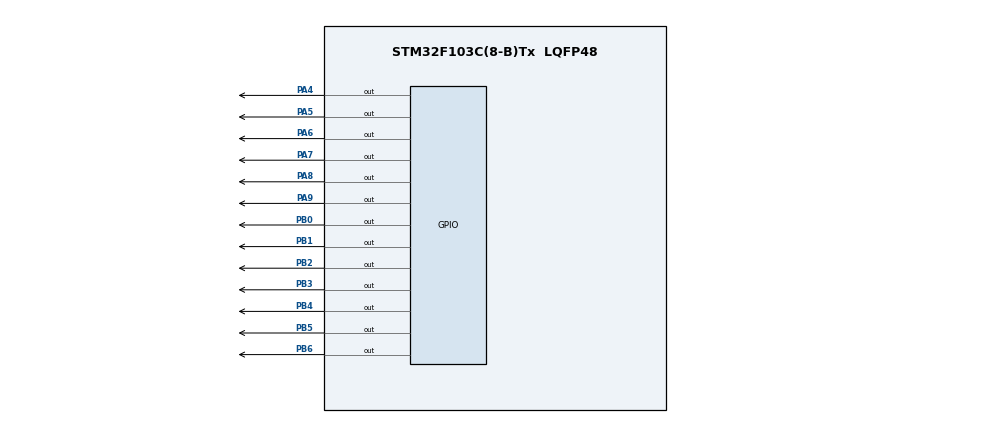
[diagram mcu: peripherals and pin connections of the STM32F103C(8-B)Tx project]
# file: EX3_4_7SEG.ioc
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Mcu.Family=STM32F1
Mcu.Name=STM32F103C(8-B)Tx
Mcu.Package=LQFP48
NVIC.PriorityGroup=NVIC_PRIORITYGROUP_4
NVIC.TIM2_IRQn=true\:0\:0\:false\:false\:true\:true\:true\:true
PA13.Mode=Serial_Wire
PA13.Signal=SYS_JTMS-SWDIO
PA14.Mode=Serial_Wire
PA14.Signal=SYS_JTCK-SWCLK
PA4.Signal=GPIO_Output
PA5.Signal=GPIO_Output
PA6.Signal=GPIO_Output
PA7.Signal=GPIO_Output
PA8.Signal=GPIO_Output
PA9.Signal=GPIO_Output
PB0.Signal=GPIO_Output
PB1.Signal=GPIO_Output
PB2.Signal=GPIO_Output
PB3.Signal=GPIO_Output
PB4.Signal=GPIO_Output
PB5.Signal=GPIO_Output
PB6.Signal=GPIO_Output
ProjectManager.HeapSize=0x200
ProjectManager.StackSize=0x400
ProjectManager.TargetToolchain=MDK-ARM V5.32
RCC.APB1Freq_Value=8000000
RCC.APB2Freq_Value=8000000
TIM2.Period=9
TIM2.Prescaler=7999
VP_TIM2_VS_ClockSourceINT.Mode=Internal
board=custom

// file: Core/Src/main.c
/* USER CODE BEGIN Header */
/**
  ******************************************************************************
  * @file           : main.c
  * @brief          : Main program body
  ******************************************************************************
  * @attention
  *
  * Copyright (c) 2026 STMicroelectronics.
  * All rights reserved.
  *
  * This software is licensed under terms that can be found in the LICENSE file
  * in the root directory of this software component.
  * If no LICENSE file comes with this software, it is provided AS-IS.
  *
  ******************************************************************************
  */
/* USER CODE END Header */
#include "main.h"

/* USER CODE BEGIN PD */
#define LED_A GPIO_PIN_0
#define LED_B GPIO_PIN_1
#define LED_C GPIO_PIN_2
#define LED_D GPIO_PIN_3
#define LED_E GPIO_PIN_4
#define LED_F GPIO_PIN_5
#define LED_G GPIO_PIN_6

#define ALL_LEDS (LED_A | LED_B | LED_C | LED_D | \
                  LED_E | LED_F | LED_G)

#define EN0 GPIO_PIN_6
#define EN1 GPIO_PIN_7
#define EN2 GPIO_PIN_8
#define EN3 GPIO_PIN_9

#define ALL_EN (EN0 | EN1 | EN2 | EN3)

#define DOT_PIN GPIO_PIN_4

#define MAX_LED     4
#define TIMER_CYCLE 10						// T(interrupt) = 10ms

/* USER CODE END PD */

TIM_HandleTypeDef htim2;

/* USER CODE BEGIN PV */
int led_buffer[MAX_LED] = {1,2,3,4};
int index_led = 0;

int timer0_counter = 0;
int timer0_flag = 0;

int timer1_counter = 0;
int timer1_flag = 0;

static const uint16_t enable_pin[MAX_LED] = { EN0, EN1, EN2, EN3 };
/* USER CODE END PV */

void SystemClock_Config(void);
static void MX_GPIO_Init(void);
static void MX_TIM2_Init(void);

/* USER CODE BEGIN 0 */
void display7SEG(int num)
{
    static const uint16_t digit[10] =
    {
        LED_A | LED_B | LED_C | LED_D | LED_E | LED_F,         // 0
        LED_B | LED_C,                                         // 1
        LED_A | LED_B | LED_D | LED_E | LED_G,                 // 2
        LED_A | LED_B | LED_C | LED_D | LED_G,                 // 3
        LED_B | LED_C | LED_F | LED_G,                         // 4
        LED_A | LED_C | LED_D | LED_F | LED_G,                 // 5
        LED_A | LED_C | LED_D | LED_E | LED_F | LED_G,         // 6
        LED_A | LED_B | LED_C,                                 // 7
        LED_A | LED_B | LED_C | LED_D | LED_E | LED_F | LED_G, // 8
        LED_A | LED_B | LED_C | LED_D | LED_F | LED_G          // 9
    };

    // Anode chung: HIGH tat, LOW sang
    HAL_GPIO_WritePin(GPIOB, ALL_LEDS, GPIO_PIN_SET);

    if (num >= 0 && num <= 9)
    {
        HAL_GPIO_WritePin(GPIOB, digit[num], GPIO_PIN_RESET);
    }
}

void disable7SEG(void){

	HAL_GPIO_WritePin(GPIOA, ALL_EN, 1);		// turn off 4 7SEG

}

// CONTROL NUMBER ON 7SEG
void update7SEG(int index)
{
    disable7SEG();

    switch (index)
    {
        case 0:
            display7SEG(led_buffer[0]);
            HAL_GPIO_WritePin(GPIOA, EN0, GPIO_PIN_RESET);
            break;

        case 1:
            display7SEG(led_buffer[1]);
            HAL_GPIO_WritePin(GPIOA, EN1, GPIO_PIN_RESET);
            break;

        case 2:
            display7SEG(led_buffer[2]);
            HAL_GPIO_WritePin(GPIOA, EN2, GPIO_PIN_RESET);
            break;

        case 3:
            display7SEG(led_buffer[3]);
            HAL_GPIO_WritePin(GPIOA, EN3, GPIO_PIN_RESET);
            break;

        default:
            break;
    }
}

void setTimer0(int duration){

	timer0_counter = duration / TIMER_CYCLE; 			// duration / 10ms
	timer0_flag = 0;
}

void setTimer1(int duration){

	timer1_counter = duration / TIMER_CYCLE;
	timer1_flag = 0;
}

void timer_run(){

	if(timer0_counter > 0){
		timer0_counter--;

		if(timer0_counter == 0){
			timer0_flag = 1;							// enough time to switch state
		}
	}

	if(timer1_counter > 0){
		timer1_counter--;

		if(timer1_counter == 0){
			timer1_flag = 1;
		}
	}
}

void HAL_TIM_PeriodElapsedCallback(TIM_HandleTypeDef *htim){

	if(htim->Instance == TIM2){

		timer_run();

		if(timer0_flag == 1){
			HAL_GPIO_TogglePin(GPIOA, DOT_PIN);
			setTimer0(1000);
		}

		if(timer1_flag == 1){

			update7SEG(index_led);
			index_led++;

			if(index_led >= MAX_LED){
				index_led = 0;
			}

			setTimer1(500);
		}

	}
}
/* USER CODE END 0 */

int main(void)
{

  /* MCU Configuration--------------------------------------------------------*/

  /* Reset of all peripherals, Initializes the Flash interface and the Systick. */
  HAL_Init();

  /* Configure the system clock */
  SystemClock_Config();

  /* Initialize all configured peripherals */
  MX_GPIO_Init();
  MX_TIM2_Init();
  /* USER CODE BEGIN 2 */

	HAL_GPIO_WritePin(GPIOA, ALL_EN, 1);

	update7SEG(0);					// Turn on the led belong to the buffer led_index

	// Lan quet tiep theo hien thi LED thu hai
	index_led = 1;

	// Dat thoi gian cho hai software timer
  setTimer0(1000);
  setTimer1(500);

	HAL_TIM_Base_Start_IT(&htim2);

  /* USER CODE END 2 */

  /* Infinite loop */
  while (1)
  {

  }
}

void SystemClock_Config(void)
{
  RCC_OscInitTypeDef RCC_OscInitStruct = {0};
  RCC_ClkInitTypeDef RCC_ClkInitStruct = {0};

  /** Initializes the RCC Oscillators according to the specified parameters
  * in the RCC_OscInitTypeDef structure.
  */
  RCC_OscInitStruct.OscillatorType = RCC_OSCILLATORTYPE_HSI;
  RCC_OscInitStruct.HSIState = RCC_HSI_ON;
  RCC_OscInitStruct.HSICalibrationValue = RCC_HSICALIBRATION_DEFAULT;
  RCC_OscInitStruct.PLL.PLLState = RCC_PLL_NONE;
  if (HAL_RCC_OscConfig(&RCC_OscInitStruct) != HAL_OK)
  {
    Error_Handler();
  }

  /** Initializes the CPU, AHB and APB buses clocks
  */
  RCC_ClkInitStruct.ClockType = RCC_CLOCKTYPE_HCLK|RCC_CLOCKTYPE_SYSCLK
                              |RCC_CLOCKTYPE_PCLK1|RCC_CLOCKTYPE_PCLK2;
  RCC_ClkInitStruct.SYSCLKSource = RCC_SYSCLKSOURCE_HSI;
  RCC_ClkInitStruct.AHBCLKDivider = RCC_SYSCLK_DIV1;
  RCC_ClkInitStruct.APB1CLKDivider = RCC_HCLK_DIV1;
  RCC_ClkInitStruct.APB2CLKDivider = RCC_HCLK_DIV1;

  if (HAL_RCC_ClockConfig(&RCC_ClkInitStruct, FLASH_LATENCY_0) != HAL_OK)
  {
    Error_Handler();
  }
}

static void MX_TIM2_Init(void)
{

  TIM_ClockConfigTypeDef sClockSourceConfig = {0};
  TIM_MasterConfigTypeDef sMasterConfig = {0};

  htim2.Instance = TIM2;
  htim2.Init.Prescaler = 7999;
  htim2.Init.CounterMode = TIM_COUNTERMODE_UP;
  htim2.Init.Period = 9;
  htim2.Init.ClockDivision = TIM_CLOCKDIVISION_DIV1;
  htim2.Init.AutoReloadPreload = TIM_AUTORELOAD_PRELOAD_DISABLE;
  if (HAL_TIM_Base_Init(&htim2) != HAL_OK)
  {
    Error_Handler();
  }
  sClockSourceConfig.ClockSource = TIM_CLOCKSOURCE_INTERNAL;
  if (HAL_TIM_ConfigClockSource(&htim2, &sClockSourceConfig) != HAL_OK)
  {
    Error_Handler();
  }
  sMasterConfig.MasterOutputTrigger = TIM_TRGO_RESET;
  sMasterConfig.MasterSlaveMode = TIM_MASTERSLAVEMODE_DISABLE;
  if (HAL_TIMEx_MasterConfigSynchronization(&htim2, &sMasterConfig) != HAL_OK)
  {
    Error_Handler();
  }

}

static void MX_GPIO_Init(void)
{
  GPIO_InitTypeDef GPIO_InitStruct = {0};

  /* GPIO Ports Clock Enable */
  __HAL_RCC_GPIOA_CLK_ENABLE();
  __HAL_RCC_GPIOB_CLK_ENABLE();

  /*Configure GPIO pin Output Level */
  HAL_GPIO_WritePin(GPIOA, GPIO_PIN_4|GPIO_PIN_5|GPIO_PIN_6|GPIO_PIN_7
                          |GPIO_PIN_8|GPIO_PIN_9, GPIO_PIN_RESET);

  /*Configure GPIO pin Output Level */
  HAL_GPIO_WritePin(GPIOB, GPIO_PIN_0|GPIO_PIN_1|GPIO_PIN_2|GPIO_PIN_3
                          |GPIO_PIN_4|GPIO_PIN_5|GPIO_PIN_6, GPIO_PIN_RESET);

  /*Configure GPIO pins : PA4 PA5 PA6 PA7
                           PA8 PA9 */
  GPIO_InitStruct.Pin = GPIO_PIN_4|GPIO_PIN_5|GPIO_PIN_6|GPIO_PIN_7
                          |GPIO_PIN_8|GPIO_PIN_9;
  GPIO_InitStruct.Mode = GPIO_MODE_OUTPUT_PP;
  GPIO_InitStruct.Pull = GPIO_NOPULL;
  GPIO_InitStruct.Speed = GPIO_SPEED_FREQ_LOW;
  HAL_GPIO_Init(GPIOA, &GPIO_InitStruct);

  /*Configure GPIO pins : PB0 PB1 PB2 PB3
                           PB4 PB5 PB6 */
  GPIO_InitStruct.Pin = GPIO_PIN_0|GPIO_PIN_1|GPIO_PIN_2|GPIO_PIN_3
                          |GPIO_PIN_4|GPIO_PIN_5|GPIO_PIN_6;
  GPIO_InitStruct.Mode = GPIO_MODE_OUTPUT_PP;
  GPIO_InitStruct.Pull = GPIO_NOPULL;
  GPIO_InitStruct.Speed = GPIO_SPEED_FREQ_LOW;
  HAL_GPIO_Init(GPIOB, &GPIO_InitStruct);

}

void Error_Handler(void)
{
  __disable_irq();
  while (1)
  {
  }
}
